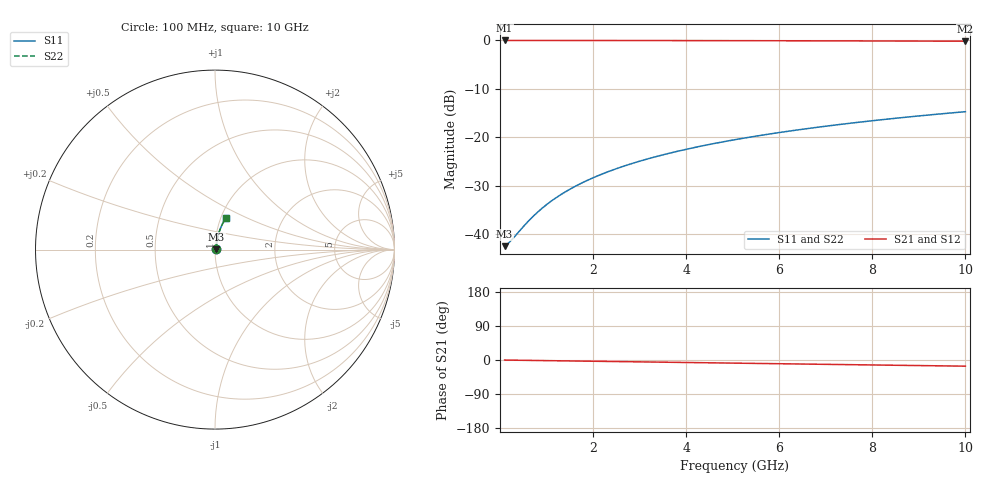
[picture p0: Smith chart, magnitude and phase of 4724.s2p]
# Hz S RI R 50.00
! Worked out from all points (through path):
!   100 points, 100 MHz to 10 GHz, reference 50 ohm
!   highest |S21| = -0.06 dB at 100 MHz (marker M1); lowest = -0.2 dB at 10 GHz (marker M2)
!   group delay of S21, straight-line fit = 4.53 ps
!   lowest |S11| = -42.4 dB at 100 MHz (marker M3), VSWR 1.02, Z = 50.7 + j0.188 ohm
!   |S11| at or under -10 dB: start of sweep to end of sweep
!   |S22| runs from -42.4 to -14.7 dB; largest |S21 - S12| = 0
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1e8  0.00732 0.00185  0.9927 -0.00285  0.9927 -0.00285  0.00732 0.00185
2e8  0.00738 0.00371  0.9926 -0.0057  0.9926 -0.0057  0.00738 0.00371
3e8  0.00745 0.00556  0.9925 -0.00854  0.9925 -0.00854  0.00745 0.00556
5e8  0.00758 0.00926  0.9924 -0.0142  0.9924 -0.0142  0.00758 0.00926
7e8  0.00775 0.013  0.9922 -0.0199  0.9922 -0.0199  0.00775 0.013
8e8  0.00785 0.0148  0.9921 -0.0228  0.9921 -0.0228  0.00785 0.0148
1e9  0.00807 0.0185  0.9919 -0.0285  0.9919 -0.0285  0.00807 0.0185
1.2e9  0.00833 0.0222  0.9916 -0.0341  0.9916 -0.0341  0.00833 0.0222
1.4e9  0.00863 0.0259  0.9913 -0.0398  0.9913 -0.0398  0.00863 0.0259
1.6e9  0.00897 0.0296  0.9909 -0.0455  0.9909 -0.0455  0.00897 0.0296
1.8e9  0.00935 0.0333  0.9905 -0.0512  0.9905 -0.0512  0.00935 0.0333
2.1e9  0.01 0.0388  0.9898 -0.0597  0.9898 -0.0597  0.01 0.0388
2.5e9  0.011 0.0461  0.9887 -0.071  0.9887 -0.071  0.011 0.0461
2.9e9  0.0122 0.0534  0.9874 -0.0823  0.9874 -0.0823  0.0122 0.0534
3.4e9  0.0139 0.0625  0.9855 -0.0963  0.9855 -0.0963  0.0139 0.0625
4.2e9  0.0171 0.0769  0.982 -0.1187  0.982 -0.1187  0.0171 0.0769
5.1e9  0.0215 0.0928  0.9771 -0.1437  0.9771 -0.1437  0.0215 0.0928
5.9e9  0.0261 0.1068  0.9721 -0.1656  0.9721 -0.1656  0.0261 0.1068
6.7e9  0.0314 0.1204  0.9663 -0.1873  0.9663 -0.1873  0.0314 0.1204
7.5e9  0.0372 0.1338  0.9599 -0.2087  0.9599 -0.2087  0.0372 0.1338
8.4e9  0.0444 0.1485  0.952 -0.2324  0.952 -0.2324  0.0444 0.1485
1e10  0.059 0.1735  0.9359 -0.2735  0.9359 -0.2735  0.059 0.1735
